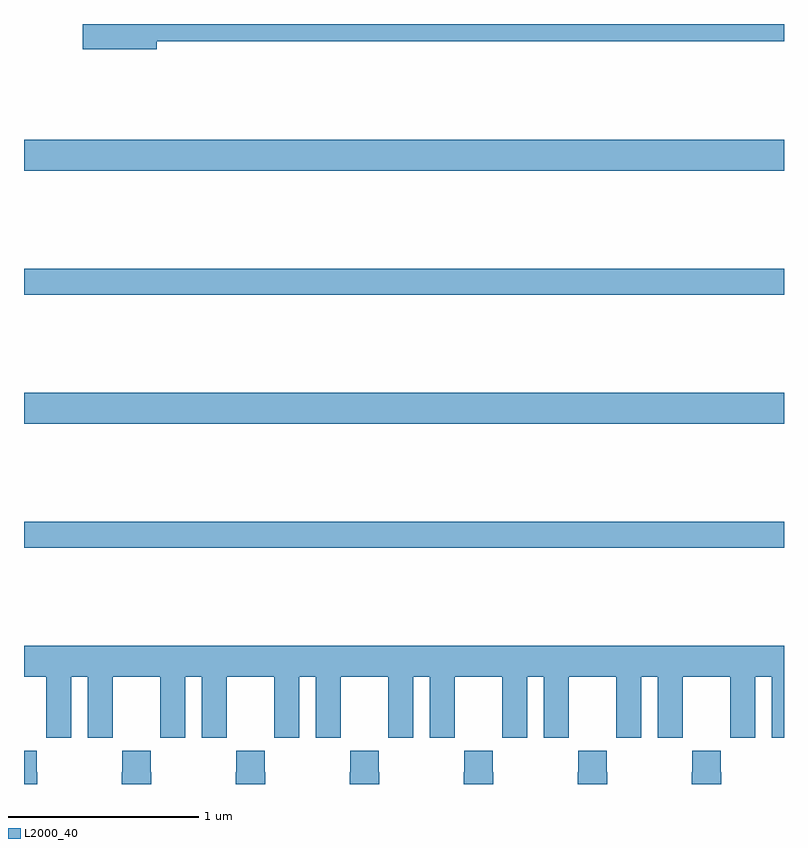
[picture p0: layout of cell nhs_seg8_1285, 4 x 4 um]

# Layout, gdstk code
import gdstk
lib = gdstk.Library(unit=1e-6, precision=1e-09)
def R(c, l, rs):  # rectangles x0, y0, x1, y1
    for r in rs: c.add(gdstk.rectangle(r[:2], r[2:], *l))
def P(c, l, *ps):  # polygons
    for p in ps: c.add(gdstk.Polygon(p, *l))
L2000_40 = (2000, 40)

nhs_seg8_1285 = lib.new_cell('nhs_seg8_1285')
R(nhs_seg8_1285, L2000_40, [(191,1153.144,195,1153.28), (191,1153.796,195,1153.96), (191,1154.476,195,1154.612), (191,1155.128,195,1155.292)])
P(nhs_seg8_1285, L2000_40, [(191.698,1155.808),(195,1155.808),(195,1155.9),(191.31,1155.9),(191.31,1155.766),(191.698,1155.766)],
  [(191,1152.464),(191.117,1152.464),(191.117,1152.256),(191.118,1152.256),(191.118,1152.144),(191.248,1152.144),(191.248,1152.464),(191.336,1152.464),(191.336,1152.144),(191.466,1152.144),(191.466,1152.256),(191.467,1152.256),(191.467,1152.464),(191.717,1152.464),(191.717,1152.256),(191.718,1152.256),(191.718,1152.144),(191.848,1152.144),(191.848,1152.464),(191.936,1152.464),(191.936,1152.144),(192.066,1152.144),(192.066,1152.256),(192.067,1152.256),(192.067,1152.464),(192.317,1152.464),(192.317,1152.256),(192.318,1152.256),(192.318,1152.144),(192.448,1152.144),(192.448,1152.464),(192.536,1152.464),(192.536,1152.144),(192.666,1152.144),(192.666,1152.256),(192.667,1152.256),(192.667,1152.464),(192.917,1152.464),(192.917,1152.256),(192.918,1152.256),(192.918,1152.144),(193.048,1152.144),(193.048,1152.464),(193.136,1152.464),(193.136,1152.144),(193.266,1152.144),(193.266,1152.256),(193.267,1152.256),(193.267,1152.464),(193.517,1152.464),(193.517,1152.256),(193.518,1152.256),(193.518,1152.144),(193.648,1152.144),(193.648,1152.464),(193.736,1152.464),(193.736,1152.144),(193.866,1152.144),(193.866,1152.256),(193.867,1152.256),(193.867,1152.464),(194.117,1152.464),(194.117,1152.256),(194.118,1152.256),(194.118,1152.144),(194.248,1152.144),(194.248,1152.464),(194.336,1152.464),(194.336,1152.144),(194.466,1152.144),(194.466,1152.256),(194.467,1152.256),(194.467,1152.464),(194.717,1152.464),(194.717,1152.256),(194.718,1152.256),(194.718,1152.144),(194.848,1152.144),(194.848,1152.464),(194.936,1152.464),(194.936,1152.144),(195,1152.144),(195,1152.628),(191,1152.628)],
  [(192.87,1151.963),(192.867,1151.963),(192.867,1152.076),(192.717,1152.076),(192.717,1151.963),(192.715,1151.963),(192.715,1151.9),(192.87,1151.9)],
  [(193.47,1151.963),(193.467,1151.963),(193.467,1152.076),(193.317,1152.076),(193.317,1151.963),(193.315,1151.963),(193.315,1151.9),(193.47,1151.9)],
  [(194.07,1151.963),(194.067,1151.963),(194.067,1152.076),(193.917,1152.076),(193.917,1151.963),(193.915,1151.963),(193.915,1151.9),(194.07,1151.9)],
  [(191.07,1151.963),(191.067,1151.963),(191.067,1152.076),(191,1152.076),(191,1151.9),(191.07,1151.9)],
  [(192.27,1151.963),(192.267,1151.963),(192.267,1152.076),(192.117,1152.076),(192.117,1151.963),(192.115,1151.963),(192.115,1151.9),(192.27,1151.9)],
  [(191.67,1151.963),(191.667,1151.963),(191.667,1152.076),(191.517,1152.076),(191.517,1151.963),(191.515,1151.963),(191.515,1151.9),(191.67,1151.9)],
  [(194.67,1151.963),(194.667,1151.963),(194.667,1152.076),(194.517,1152.076),(194.517,1151.963),(194.515,1151.963),(194.515,1151.9),(194.67,1151.9)])

lib.write_gds('nhs_seg8_1285.gds')
